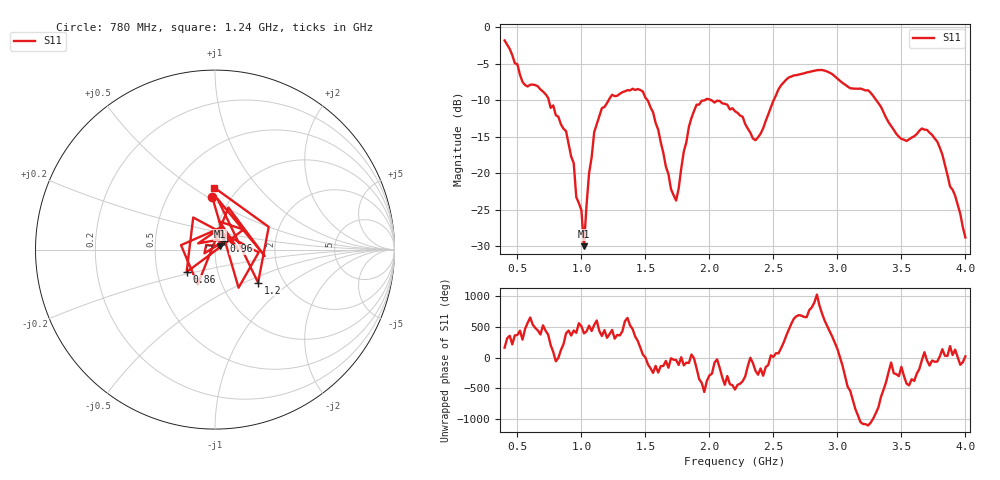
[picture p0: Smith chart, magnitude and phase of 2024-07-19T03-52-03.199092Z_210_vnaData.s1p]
!Created with skrf (http://scikit-rf.org).
# Hz S RI R 50.0
!freq ReS11 ImS11
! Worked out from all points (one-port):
!   181 points, 400 MHz to 4 GHz, reference 50 ohm
!   lowest |S11| = -30.0 dB at 1.02 GHz (marker M1), VSWR 1.07, Z = 52.6 + j1.88 ohm
!   |S11| at or under -10 dB: 744.8 MHz to 1.212 GHz (467.6 MHz wide, 47.8 % of centre); 2.015 GHz to 2.502 GHz (486.6 MHz wide, 21.5 % of centre); 3.304 GHz to end of sweep (the widest 3 of 4)
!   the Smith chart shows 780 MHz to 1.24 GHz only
!   S11 on the Smith chart (normalised r, x): 780 MHz: 0.82, +0.52; 860 MHz: 0.71, -0.18; 960 MHz: 1.10, +0.10; 1.2 GHz: 1.49, -0.60; 1.24 GHz: 0.78, +0.61
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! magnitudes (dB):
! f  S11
! 400 MHz  -1.8
! 540 MHz  -7.5
! 780 MHz  -10.7
! 860 MHz  -13.9
! 940 MHz  -18.6
! 960 MHz  -23.3
! 1 GHz  -25.1
! 1.02 GHz  -30.0
! 1.06 GHz  -20.0
! 1.1 GHz  -14.4
! 1.2 GHz  -10.4
! 1.24 GHz  -9.2
! 1.3 GHz  -9.1
! 1.48 GHz  -8.8
! 1.6 GHz  -14.0
! 1.7 GHz  -22.2
! 1.76 GHz  -22.1
! 1.84 GHz  -13.6
! 1.9 GHz  -10.6
! 2.2 GHz  -11.5
! 2.36 GHz  -15.5
! 2.54 GHz  -8.5
! 2.66 GHz  -6.6
! 3.1 GHz  -8.3
! 3.24 GHz  -8.6
! 3.56 GHz  -15.4
! 3.78 GHz  -15.7
! 4 GHz  -28.8
